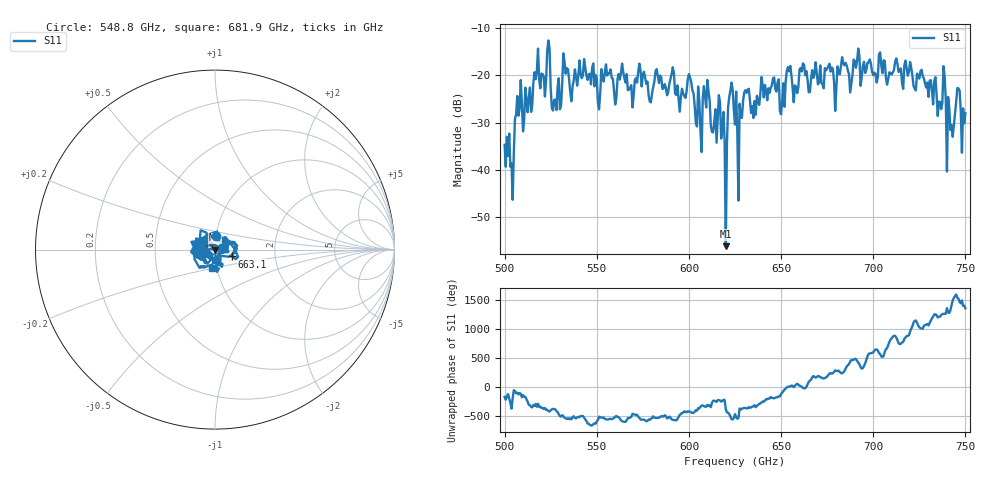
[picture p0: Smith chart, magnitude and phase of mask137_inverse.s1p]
!Created with skrf (http://scikit-rf.org).
# GHz S MA R 50.0
!freq magS11 angS11
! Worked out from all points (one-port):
!   401 points, 500 GHz to 750 GHz, reference 50 ohm
!   lowest |S11| = -56.2 dB at 620 GHz (marker M1), VSWR 1.00, Z = 50.1 - j0.0739 ohm
!   |S11| at or under -10 dB: start of sweep to end of sweep
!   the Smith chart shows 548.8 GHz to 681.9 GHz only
!   S11 on the Smith chart (normalised r, x): 548.8 GHz: 1.00, +0.15; 663.1 GHz: 1.20, -0.09; 681.9 GHz: 0.95, -0.19
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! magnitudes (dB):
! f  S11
! 500 GHz  -34.7
! 503.8 GHz  -38.6
! 507.5 GHz  -28.5
! 513.8 GHz  -22.6
! 516.9 GHz  -20.8
! 523.8 GHz  -12.6
! 526.9 GHz  -25.2
! 531.2 GHz  -21.7
! 548.8 GHz  -22.3
! 562.5 GHz  -20.9
! 593.8 GHz  -22.1
! 600.6 GHz  -20.4
! 605.6 GHz  -25.4
! 609.4 GHz  -26.8
! 620 GHz  -56.2
! 622.5 GHz  -23.2
! 625 GHz  -30.4
! 627.5 GHz  -26.0
! 631.2 GHz  -23.7
! 656.2 GHz  -22.6
! 663.1 GHz  -19.9
! 681.9 GHz  -19.8
! 687.5 GHz  -23.6
! 718.8 GHz  -20.0
! 738.1 GHz  -18.0
! 741.2 GHz  -26.9
! 745.6 GHz  -22.7
! 750 GHz  -28.0
